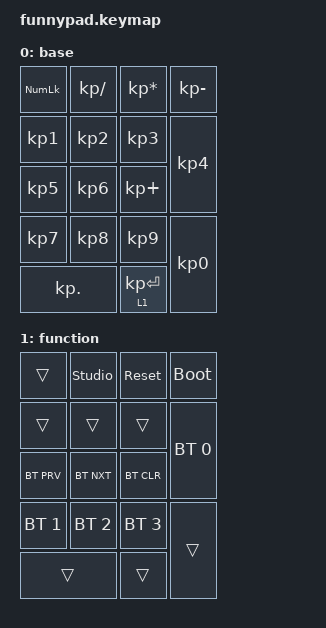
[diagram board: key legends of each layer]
/*
 * Copyright (c) 2020 The ZMK Contributors
 *
 * SPDX-License-Identifier: MIT
 */

#include <behaviors.dtsi>
#include <dt-bindings/zmk/keys.h>
#include <dt-bindings/zmk/bt.h>
#include "FunnyPad-layouts.dtsi"

/ {
    behaviors {
        ht: hold_tap {
            compatible = "zmk,behavior-hold-tap";
            #binding-cells = <2>;
            tapping-term-ms = <200>;
            flavor = "hold-preferred";
            bindings = <&kp>, <&kp>;
        };
    };

    keymap {
        compatible = "zmk,keymap";

        default_layer {
            display-name = "base";
            bindings = <
                &kp KP_NUMLOCK  &kp KP_SLASH    &kp KP_ASTERISK &kp KP_MINUS
                &kp KP_NUMBER_1 &kp KP_NUMBER_2 &kp KP_NUMBER_3 
                &kp KP_NUMBER_4 &kp KP_NUMBER_5 &kp KP_NUMBER_6 &kp KP_PLUS
                &kp KP_NUMBER_7 &kp KP_NUMBER_8 &kp KP_NUMBER_9 
                                &kp KP_NUMBER_0 &kp KP_DOT      &lt 1 KP_ENTER
            >;
        };

        function_layer {
            display-name = "function";
            bindings = <
                &trans          &studio_unlock  &sys_reset      &bootloader
                &trans          &trans          &trans
                &bt BT_SEL 0    &bt BT_PRV      &bt BT_NXT      &bt BT_CLR
                &bt BT_SEL 1    &bt BT_SEL 2    &bt BT_SEL 3
                                &trans          &trans          &trans
            >;
        };

    };
};
